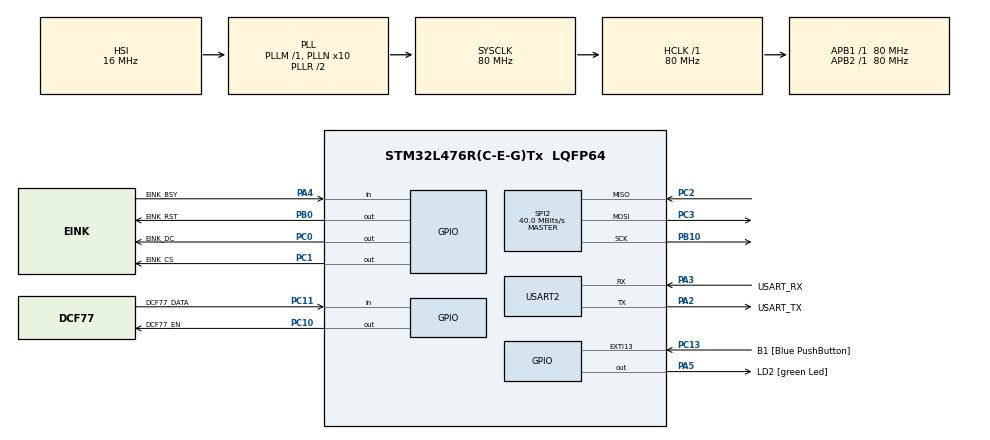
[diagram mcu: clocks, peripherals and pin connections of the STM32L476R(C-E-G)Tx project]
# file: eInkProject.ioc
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Mcu.Family=STM32L4
PC3.Mode=Full_Duplex_Master
PA2.GPIO_PuPd=GPIO_NOPULL
RTC.AlarmMaskHours-Alarm\ A=RTC_ALARMMASK_HOURS
RCC.CortexFreq_Value=80000000
PC10.GPIO_PuPd=GPIO_PULLUP
SPI2.VirtualType=VM_MASTER
PB10.Mode=Full_Duplex_Master
PH0-OSC_IN\ (PH0).Signal=RCC_OSC_IN
PC10.Signal=GPIO_Output
PA3.GPIO_PuPd=GPIO_NOPULL
PA2.GPIO_Speed=GPIO_SPEED_FREQ_VERY_HIGH
PC0.GPIO_Label=EINK_DC
VP_RTC_VS_RTC_Activate.Mode=RTC_Enabled
RTC.WeekDay=RTC_WEEKDAY_SATURDAY
PB0.GPIO_Label=EINK_RST
RTC.AlarmMaskMinutes-Alarm\ A=RTC_ALARMMASK_MINUTES
PC15-OSC32_OUT\ (PC15).Mode=LSE-External-Oscillator
PC13.GPIO_Label=B1 [Blue PushButton]
PA3.GPIO_Speed=GPIO_SPEED_FREQ_VERY_HIGH
VP_RTC_VS_RTC_Alarm_A_Intern.Mode=Alarm A
RCC.SYSCLKSource=RCC_SYSCLKSOURCE_PLLCLK
ProjectManager.StackSize=0x400
PB3\ (JTDO-TRACESWO).Signal=SYS_JTDO-SWO
PC14-OSC32_IN\ (PC14).Mode=LSE-External-Oscillator
RTC.Seconds_A-Alarm\ A=3
PA14\ (JTCK-SWCLK).Signal=SYS_JTCK-SWCLK
PC11.GPIO_PuPd=GPIO_NOPULL
RTC.StoreOperation=RTC_STOREOPERATION_RESET
RCC.HCLKFreq_Value=80000000
RCC.APB2TimFreq_Value=80000000
PC3.Signal=SPI2_MOSI
RCC.AHBFreq_Value=80000000
RCC.PREFETCH_ENABLE=1
RCC.HSE_VALUE=8000000
USART2.VirtualMode-Asynchronous=VM_ASYNC
RTC.AlarmMaskSeconds-Alarm\ A=RTC_ALARMMASK_SECONDS
RTC.Month=RTC_MONTH_APRIL
PA5.GPIO_PuPd=GPIO_NOPULL
PC11.GPIO_Label=DCF77_DATA
PC13.GPIO_PuPd=GPIO_NOPULL
SPI2.CalculateBaudRate=40.0 MBits/s
NVIC.SPI2_IRQn=true\:0\:0\:false\:false\:true\:true\:true
PC10.PinState=GPIO_PIN_SET
RTC.Hours_A-Alarm\ A=1
RTC.AlarmMaskDateWeekDay-Alarm\ A=RTC_ALARMMASK_DATEWEEKDAY
Mcu.Package=LQFP64
SPI2.Mode=SPI_MODE_MASTER
PA2.GPIO_Label=USART_TX
VP_RTC_VS_RTC_Calendar.Mode=RTC_Calendar
RCC.APB1TimFreq_Value=80000000
SPI2.Direction=SPI_DIRECTION_2LINES
PA13\ (JTMS-SWDIO).Signal=SYS_JTMS-SWDIO
PA4.GPIO_Label=EINK_BSY
PA3.Signal=USART2_RX
PA2.GPIO_Mode=GPIO_MODE_AF_PP
RCC.MSI_VALUE=4000000
RCC.PLLSourceVirtual=RCC_PLLSOURCE_HSI
PA14\ (JTCK-SWCLK).Mode=Serial_Wire
PC10.GPIO_Label=DCF77_EN
PC13.Signal=GPXTI13
PC11.Signal=GPIO_Input
PC2.Signal=SPI2_MISO
PC2.Mode=Full_Duplex_Master
PC15-OSC32_OUT\ (PC15).Signal=RCC_OSC32_OUT
PA14\ (JTCK-SWCLK).GPIO_Label=TCK
PB3\ (JTDO-TRACESWO).GPIO_Label=SWO
PC0.Signal=GPIO_Output
PH1-OSC_OUT\ (PH1).Signal=RCC_OSC_OUT
PA3.Mode=Asynchronous
ProjectManager.TargetToolchain=STM32CubeIDE
RTC.Year=21
PA3.GPIO_Mode=GPIO_MODE_AF_PP
RTC.Format=RTC_FORMAT_BIN
RCC.USBFreq_Value=64000000
PB10.Signal=SPI2_SCK
PA5.Signal=GPIO_Output
board=NUCLEO-L476RG
RCC.VCOOutputFreq_Value=160000000
RCC.APB2Freq_Value=80000000
PA5.GPIO_ModeDefaultOutputPP=GPIO_MODE_OUTPUT_PP
PA13\ (JTMS-SWDIO).GPIO_Label=TMS
RCC.ADCFreq_Value=64000000
PC1.GPIO_Label=EINK_CS
NVIC.RTC_Alarm_IRQn=true\:0\:0\:false\:false\:true\:true\:true
Mcu.Name=STM32L476R(C-E-G)Tx
RTC.Alarm-Alarm\ A=RTC_ALARM_A
PA2.Signal=USART2_TX
RTC.Minutes_A-Alarm\ A=2
PA13\ (JTMS-SWDIO).Mode=Serial_Wire
PA4.Signal=GPIO_Input
RCC.SYSCLKFreq_VALUE=80000000
PA5.GPIO_Label=LD2 [green Led]
PC13.GPIO_ModeDefaultEXTI=GPIO_MODE_IT_FALLING
PC14-OSC32_IN\ (PC14).Signal=RCC_OSC32_IN
ProjectManager.HeapSize=0x200
RCC.HSI_VALUE=16000000
PA5.GPIO_Speed=GPIO_SPEED_FREQ_LOW
NVIC.PriorityGroup=NVIC_PRIORITYGROUP_4
RCC.PLLN=10
PA2.Mode=Asynchronous
SPI2.DataSize=SPI_DATASIZE_8BIT
RCC.APB1Freq_Value=80000000
PB0.Signal=GPIO_Output
RTC.Date=3
PC1.Signal=GPIO_Output
PA3.GPIO_Label=USART_RX

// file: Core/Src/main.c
/* USER CODE BEGIN Header */
/**
  ******************************************************************************
  * @file           : main.c
  * @brief          : Main program body
  ******************************************************************************
  * @attention
  *
  * <h2><center>&copy; Copyright (c) 2021 STMicroelectronics.
  * All rights reserved.</center></h2>
  *
  * This software component is licensed by ST under BSD 3-Clause license,
  * the "License"; You may not use this file except in compliance with the
  * License. You may obtain a copy of the License at:
  *                        opensource.org/licenses/BSD-3-Clause
  *
  ******************************************************************************
  */
/* USER CODE END Header */
#include "main.h"

/* USER CODE BEGIN Includes */

#include "Display/eInk_config/EPD_Test.h"
#include "DateTime/TimeKeeping.h"
#include "GUI/GUI_MainFrame.h"
#include "DCF77/DCF77.h"

/* USER CODE END Includes */

RTC_HandleTypeDef hrtc;

SPI_HandleTypeDef hspi2;

UART_HandleTypeDef huart2;

void SystemClock_Config(void);
static void MX_GPIO_Init(void);
static void MX_USART2_UART_Init(void);
static void MX_SPI2_Init(void);
static void MX_RTC_Init(void);

int main(void)
{

  /* MCU Configuration--------------------------------------------------------*/

  /* Reset of all peripherals, Initializes the Flash interface and the Systick. */
  HAL_Init();

  /* Configure the system clock */
  SystemClock_Config();

  /* Initialize all configured peripherals */
  MX_GPIO_Init();
  MX_USART2_UART_Init();
  MX_SPI2_Init();
  MX_RTC_Init();
  /* USER CODE BEGIN 2 */

  //EPD_2in13_V2_test();
  HAL_RTC_DeactivateAlarm(&hrtc, RTC_ALARM_A); //Wait with alarm until display is ready
  Init_GUI();
  Time_Init();
  //EPD_2in13_V2_test();

  DCF77_Init();

  //EPD_2in13_V2_test();

  HAL_GPIO_WritePin(LD2_GPIO_Port, LD2_Pin, 1);
  HAL_Delay(300);
  HAL_GPIO_WritePin(LD2_GPIO_Port, LD2_Pin, 0);
  HAL_Delay(300);
  HAL_GPIO_WritePin(LD2_GPIO_Port, LD2_Pin, 1);
  HAL_Delay(300);
  HAL_GPIO_WritePin(LD2_GPIO_Port, LD2_Pin, 0);

  uint8_t index;
  uint8_t dcf_values[60];
  uint8_t dcf_old;
  uint8_t dcf_new;

  uint32_t tick_old;
  uint32_t tick_new;
  uint32_t tick_printtime;

  /* USER CODE END 2 */

  /* Infinite loop */
  while (1)
  {

    /* USER CODE BEGIN 3 */

	  //HAL_Delay(300);
	  //HAL_GPIO_TogglePin(LD2_GPIO_Port, LD2_Pin);

	  /*
	  //HAL_Delay(50);
	  if(drawTimeNow){
		  drawTimeNow = 0;
		  if(drawTimeNowFullRedraw == 0){
			  GUI_DrawTime(0);
		  }else{
			  drawTimeNowFullRedraw = 0;
			  GUI_DrawTime(1);
		  }
	  }else if(drawDateNow){
		  GUI_DrawDate(1);
	  }
	  */

	  //Show DCF77 signal here lel
	  HAL_GPIO_WritePin(LD2_GPIO_Port, LD2_Pin, HAL_GPIO_ReadPin(DCF77_DATA_GPIO_Port, DCF77_DATA_Pin));

	  dcf_new = HAL_GPIO_ReadPin(DCF77_DATA_GPIO_Port, DCF77_DATA_Pin);
	  if(dcf_new != dcf_old){
		  tick_new = HAL_GetTick();
		  uint32_t tick_delta = tick_new - tick_old;
		  tick_old = tick_new;
		  //edge detected
		  if(dcf_new == 1){ //rising edge
			  char text_re[30];
			  sprintf(&text_re, "Rising edge after %dms\n", tick_delta);
			  //HAL_UART_Transmit(&huart2, &text_re, strlen(text_re), 10);

			  if(tick_delta > 1500){
				  //new minute has started, there was a missing pulse
				  char text_newminute[30];
				  sprintf(&text_newminute, "NEW MINUTE STARTED (?) %dms\n", tick_delta);
				  HAL_UART_Transmit(&huart2, &text_newminute, strlen(text_newminute), 10);
				  index = 0;

				  //PRINT TIME UNTIL NOW...
				  uint8_t minute =    dcf_values[21]*1 +
									  dcf_values[22]*2 +
									  dcf_values[23]*4 +
									  dcf_values[24]*8 +
									  dcf_values[25]*10 +
									  dcf_values[26]*20 +
									  dcf_values[27]*40;

				  uint8_t hour =   	  dcf_values[29]*1 +
									  dcf_values[30]*2 +
									  dcf_values[31]*4 +
									  dcf_values[32]*8 +
									  dcf_values[33]*10 +
									  dcf_values[34]*20;

				  uint8_t day =  	  dcf_values[36]*1 +
									  dcf_values[37]*2 +
									  dcf_values[38]*4 +
									  dcf_values[39]*8 +
									  dcf_values[40]*10 +
									  dcf_values[41]*20;

				  uint8_t day_of_week = dcf_values[42]*1 +
									  dcf_values[43]*2 +
									  dcf_values[44]*4;

				  uint8_t month =  	  dcf_values[45]*1 +
									  dcf_values[46]*2 +
									  dcf_values[47]*4 +
									  dcf_values[48]*8 +
									  dcf_values[49]*10;

				  uint8_t year =  	  dcf_values[50]*1 +
									  dcf_values[51]*2 +
									  dcf_values[52]*4 +
									  dcf_values[53]*8 +
									  dcf_values[54]*10 +
									  dcf_values[55]*20 +
									  dcf_values[56]*40 +
									  dcf_values[57]*80;

				  char datetimetext[100];
				  sprintf(&datetimetext, "%d.%d.%d (%d) %d:%d\n\n",
						  year, month, day, day_of_week, hour, minute
				  );
				  HAL_UART_Transmit(&huart2, &datetimetext, strlen(datetimetext), 30);

			  }else{
				  //valid data here...

			  }

		  }else{ //falling edge
			  char text_fe[30];
			  //sprintf(&text_fe, "Falling edge after %dms\n", tick_delta);
			  HAL_UART_Transmit(&huart2, &text_fe, strlen(text_fe), 10);

			  if(tick_delta < 150){ //short pulse -> 0
				  dcf_values[index] = 0;
				  sprintf(&text_fe, "Index %d, 0\n", index);
				  //HAL_UART_Transmit(&huart2, &text_fe, strlen(text_fe), 10);
			  }else if(tick_delta < 250){ //long pulse -> 1
				  dcf_values[index] = 1;
				  sprintf(&text_fe, "Index %d, 1\n", index);
				  //HAL_UART_Transmit(&huart2, &text_fe, strlen(text_fe), 10);
			  }else{
				  sprintf(&text_fe, "ERROR! TOO LONG HIGH %d\n", index);
				  HAL_UART_Transmit(&huart2, &text_fe, strlen(text_fe), 10);
			  }
			  index++;

		  }

	  }
	  dcf_old = dcf_new;

  }
  /* USER CODE END 3 */
}

void SystemClock_Config(void)
{
  RCC_OscInitTypeDef RCC_OscInitStruct = {0};
  RCC_ClkInitTypeDef RCC_ClkInitStruct = {0};
  RCC_PeriphCLKInitTypeDef PeriphClkInit = {0};

  /** Initializes the RCC Oscillators according to the specified parameters
  * in the RCC_OscInitTypeDef structure.
  */
  RCC_OscInitStruct.OscillatorType = RCC_OSCILLATORTYPE_HSI|RCC_OSCILLATORTYPE_LSI;
  RCC_OscInitStruct.HSIState = RCC_HSI_ON;
  RCC_OscInitStruct.HSICalibrationValue = RCC_HSICALIBRATION_DEFAULT;
  RCC_OscInitStruct.LSIState = RCC_LSI_ON;
  RCC_OscInitStruct.PLL.PLLState = RCC_PLL_ON;
  RCC_OscInitStruct.PLL.PLLSource = RCC_PLLSOURCE_HSI;
  RCC_OscInitStruct.PLL.PLLM = 1;
  RCC_OscInitStruct.PLL.PLLN = 10;
  RCC_OscInitStruct.PLL.PLLP = RCC_PLLP_DIV7;
  RCC_OscInitStruct.PLL.PLLQ = RCC_PLLQ_DIV2;
  RCC_OscInitStruct.PLL.PLLR = RCC_PLLR_DIV2;
  if (HAL_RCC_OscConfig(&RCC_OscInitStruct) != HAL_OK)
  {
    Error_Handler();
  }
  /** Initializes the CPU, AHB and APB buses clocks
  */
  RCC_ClkInitStruct.ClockType = RCC_CLOCKTYPE_HCLK|RCC_CLOCKTYPE_SYSCLK
                              |RCC_CLOCKTYPE_PCLK1|RCC_CLOCKTYPE_PCLK2;
  RCC_ClkInitStruct.SYSCLKSource = RCC_SYSCLKSOURCE_PLLCLK;
  RCC_ClkInitStruct.AHBCLKDivider = RCC_SYSCLK_DIV1;
  RCC_ClkInitStruct.APB1CLKDivider = RCC_HCLK_DIV1;
  RCC_ClkInitStruct.APB2CLKDivider = RCC_HCLK_DIV1;

  if (HAL_RCC_ClockConfig(&RCC_ClkInitStruct, FLASH_LATENCY_4) != HAL_OK)
  {
    Error_Handler();
  }
  PeriphClkInit.PeriphClockSelection = RCC_PERIPHCLK_RTC|RCC_PERIPHCLK_USART2;
  PeriphClkInit.Usart2ClockSelection = RCC_USART2CLKSOURCE_PCLK1;
  PeriphClkInit.RTCClockSelection = RCC_RTCCLKSOURCE_LSI;
  if (HAL_RCCEx_PeriphCLKConfig(&PeriphClkInit) != HAL_OK)
  {
    Error_Handler();
  }
  /** Configure the main internal regulator output voltage
  */
  if (HAL_PWREx_ControlVoltageScaling(PWR_REGULATOR_VOLTAGE_SCALE1) != HAL_OK)
  {
    Error_Handler();
  }
}

static void MX_RTC_Init(void)
{

  RTC_TimeTypeDef sTime = {0};
  RTC_DateTypeDef sDate = {0};
  RTC_AlarmTypeDef sAlarm = {0};

  /** Initialize RTC Only
  */
  hrtc.Instance = RTC;
  hrtc.Init.HourFormat = RTC_HOURFORMAT_24;
  hrtc.Init.AsynchPrediv = 127;
  hrtc.Init.SynchPrediv = 255;
  hrtc.Init.OutPut = RTC_OUTPUT_DISABLE;
  hrtc.Init.OutPutRemap = RTC_OUTPUT_REMAP_NONE;
  hrtc.Init.OutPutPolarity = RTC_OUTPUT_POLARITY_HIGH;
  hrtc.Init.OutPutType = RTC_OUTPUT_TYPE_OPENDRAIN;
  if (HAL_RTC_Init(&hrtc) != HAL_OK)
  {
    Error_Handler();
  }

  /** Initialize RTC and set the Time and Date
  */
  sTime.Hours = 0;
  sTime.Minutes = 0;
  sTime.Seconds = 0;
  sTime.DayLightSaving = RTC_DAYLIGHTSAVING_NONE;
  sTime.StoreOperation = RTC_STOREOPERATION_RESET;
  if (HAL_RTC_SetTime(&hrtc, &sTime, RTC_FORMAT_BIN) != HAL_OK)
  {
    Error_Handler();
  }
  sDate.WeekDay = RTC_WEEKDAY_SATURDAY;
  sDate.Month = RTC_MONTH_APRIL;
  sDate.Date = 3;
  sDate.Year = 21;

  if (HAL_RTC_SetDate(&hrtc, &sDate, RTC_FORMAT_BIN) != HAL_OK)
  {
    Error_Handler();
  }
  /** Enable the Alarm A
  */
  sAlarm.AlarmTime.Hours = 1;
  sAlarm.AlarmTime.Minutes = 2;
  sAlarm.AlarmTime.Seconds = 3;
  sAlarm.AlarmTime.SubSeconds = 0;
  sAlarm.AlarmTime.DayLightSaving = RTC_DAYLIGHTSAVING_NONE;
  sAlarm.AlarmTime.StoreOperation = RTC_STOREOPERATION_RESET;
  sAlarm.AlarmMask = RTC_ALARMMASK_ALL;
  sAlarm.AlarmSubSecondMask = RTC_ALARMSUBSECONDMASK_ALL;
  sAlarm.AlarmDateWeekDaySel = RTC_ALARMDATEWEEKDAYSEL_DATE;
  sAlarm.AlarmDateWeekDay = 1;
  sAlarm.Alarm = RTC_ALARM_A;
  if (HAL_RTC_SetAlarm_IT(&hrtc, &sAlarm, RTC_FORMAT_BIN) != HAL_OK)
  {
    Error_Handler();
  }

}

static void MX_SPI2_Init(void)
{

  /* SPI2 parameter configuration*/
  hspi2.Instance = SPI2;
  hspi2.Init.Mode = SPI_MODE_MASTER;
  hspi2.Init.Direction = SPI_DIRECTION_2LINES;
  hspi2.Init.DataSize = SPI_DATASIZE_8BIT;
  hspi2.Init.CLKPolarity = SPI_POLARITY_LOW;
  hspi2.Init.CLKPhase = SPI_PHASE_1EDGE;
  hspi2.Init.NSS = SPI_NSS_SOFT;
  hspi2.Init.BaudRatePrescaler = SPI_BAUDRATEPRESCALER_2;
  hspi2.Init.FirstBit = SPI_FIRSTBIT_MSB;
  hspi2.Init.TIMode = SPI_TIMODE_DISABLE;
  hspi2.Init.CRCCalculation = SPI_CRCCALCULATION_DISABLE;
  hspi2.Init.CRCPolynomial = 7;
  hspi2.Init.CRCLength = SPI_CRC_LENGTH_DATASIZE;
  hspi2.Init.NSSPMode = SPI_NSS_PULSE_ENABLE;
  if (HAL_SPI_Init(&hspi2) != HAL_OK)
  {
    Error_Handler();
  }

}

static void MX_USART2_UART_Init(void)
{

  huart2.Instance = USART2;
  huart2.Init.BaudRate = 115200;
  huart2.Init.WordLength = UART_WORDLENGTH_8B;
  huart2.Init.StopBits = UART_STOPBITS_1;
  huart2.Init.Parity = UART_PARITY_NONE;
  huart2.Init.Mode = UART_MODE_TX_RX;
  huart2.Init.HwFlowCtl = UART_HWCONTROL_NONE;
  huart2.Init.OverSampling = UART_OVERSAMPLING_16;
  huart2.Init.OneBitSampling = UART_ONE_BIT_SAMPLE_DISABLE;
  huart2.AdvancedInit.AdvFeatureInit = UART_ADVFEATURE_NO_INIT;
  if (HAL_UART_Init(&huart2) != HAL_OK)
  {
    Error_Handler();
  }

}

static void MX_GPIO_Init(void)
{
  GPIO_InitTypeDef GPIO_InitStruct = {0};

  /* GPIO Ports Clock Enable */
  __HAL_RCC_GPIOC_CLK_ENABLE();
  __HAL_RCC_GPIOH_CLK_ENABLE();
  __HAL_RCC_GPIOA_CLK_ENABLE();
  __HAL_RCC_GPIOB_CLK_ENABLE();

  /*Configure GPIO pin Output Level */
  HAL_GPIO_WritePin(GPIOC, EINK_DC_Pin|EINK_CS_Pin, GPIO_PIN_RESET);

  /*Configure GPIO pin Output Level */
  HAL_GPIO_WritePin(LD2_GPIO_Port, LD2_Pin, GPIO_PIN_RESET);

  /*Configure GPIO pin Output Level */
  HAL_GPIO_WritePin(EINK_RST_GPIO_Port, EINK_RST_Pin, GPIO_PIN_RESET);

  /*Configure GPIO pin Output Level */
  HAL_GPIO_WritePin(DCF77_EN_GPIO_Port, DCF77_EN_Pin, GPIO_PIN_SET);

  /*Configure GPIO pin : B1_Pin */
  GPIO_InitStruct.Pin = B1_Pin;
  GPIO_InitStruct.Mode = GPIO_MODE_IT_FALLING;
  GPIO_InitStruct.Pull = GPIO_NOPULL;
  HAL_GPIO_Init(B1_GPIO_Port, &GPIO_InitStruct);

  /*Configure GPIO pins : EINK_DC_Pin EINK_CS_Pin */
  GPIO_InitStruct.Pin = EINK_DC_Pin|EINK_CS_Pin;
  GPIO_InitStruct.Mode = GPIO_MODE_OUTPUT_PP;
  GPIO_InitStruct.Pull = GPIO_NOPULL;
  GPIO_InitStruct.Speed = GPIO_SPEED_FREQ_LOW;
  HAL_GPIO_Init(GPIOC, &GPIO_InitStruct);

  /*Configure GPIO pin : EINK_BSY_Pin */
  GPIO_InitStruct.Pin = EINK_BSY_Pin;
  GPIO_InitStruct.Mode = GPIO_MODE_INPUT;
  GPIO_InitStruct.Pull = GPIO_NOPULL;
  HAL_GPIO_Init(EINK_BSY_GPIO_Port, &GPIO_InitStruct);

  /*Configure GPIO pin : LD2_Pin */
  GPIO_InitStruct.Pin = LD2_Pin;
  GPIO_InitStruct.Mode = GPIO_MODE_OUTPUT_PP;
  GPIO_InitStruct.Pull = GPIO_NOPULL;
  GPIO_InitStruct.Speed = GPIO_SPEED_FREQ_LOW;
  HAL_GPIO_Init(LD2_GPIO_Port, &GPIO_InitStruct);

  /*Configure GPIO pin : EINK_RST_Pin */
  GPIO_InitStruct.Pin = EINK_RST_Pin;
  GPIO_InitStruct.Mode = GPIO_MODE_OUTPUT_PP;
  GPIO_InitStruct.Pull = GPIO_NOPULL;
  GPIO_InitStruct.Speed = GPIO_SPEED_FREQ_LOW;
  HAL_GPIO_Init(EINK_RST_GPIO_Port, &GPIO_InitStruct);

  /*Configure GPIO pin : DCF77_EN_Pin */
  GPIO_InitStruct.Pin = DCF77_EN_Pin;
  GPIO_InitStruct.Mode = GPIO_MODE_OUTPUT_PP;
  GPIO_InitStruct.Pull = GPIO_PULLUP;
  GPIO_InitStruct.Speed = GPIO_SPEED_FREQ_LOW;
  HAL_GPIO_Init(DCF77_EN_GPIO_Port, &GPIO_InitStruct);

  /*Configure GPIO pin : DCF77_DATA_Pin */
  GPIO_InitStruct.Pin = DCF77_DATA_Pin;
  GPIO_InitStruct.Mode = GPIO_MODE_INPUT;
  GPIO_InitStruct.Pull = GPIO_NOPULL;
  HAL_GPIO_Init(DCF77_DATA_GPIO_Port, &GPIO_InitStruct);

}

void Error_Handler(void)
{
  __disable_irq();
  while (1)
  {
  }
}

/************************ (C) COPYRIGHT STMicroelectronics *****END OF FILE****/
